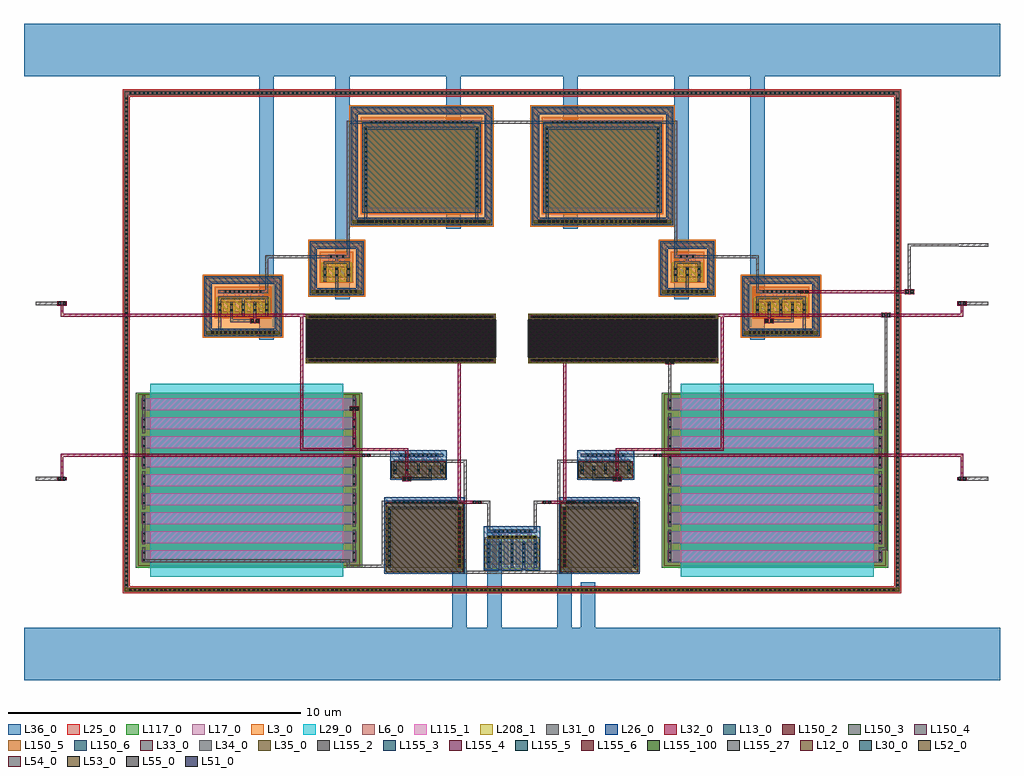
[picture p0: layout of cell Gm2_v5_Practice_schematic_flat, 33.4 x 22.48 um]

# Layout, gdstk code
import gdstk
lib = gdstk.Library(unit=1e-6, precision=1e-09)
def R(c, l, rs):  # rectangles x0, y0, x1, y1
    for r in rs: c.add(gdstk.rectangle(r[:2], r[2:], *l))
def A(c, l, x, y, w, h, nx, ny, dx, dy):  # array of equal rectangles
    R(c, l, [(x+i*dx, y+j*dy, x+i*dx+w, y+j*dy+h) for i in range(nx) for j in range(ny)])
L3_0 = (3, 0)
L6_0 = (6, 0)
L12_0 = (12, 0)
L13_0 = (13, 0)
L17_0 = (17, 0)
L25_0 = (25, 0)
L26_0 = (26, 0)
L29_0 = (29, 0)
L30_0 = (30, 0)
L31_0 = (31, 0)
L32_0 = (32, 0)
L33_0 = (33, 0)
L34_0 = (34, 0)
L35_0 = (35, 0)
L36_0 = (36, 0)
L51_0 = (51, 0)
L52_0 = (52, 0)
L53_0 = (53, 0)
L54_0 = (54, 0)
L55_0 = (55, 0)
L115_1 = (115, 1)
L117_0 = (117, 0)
L150_2 = (150, 2)
L150_3 = (150, 3)
L150_4 = (150, 4)
L150_5 = (150, 5)
L150_6 = (150, 6)
L155_2 = (155, 2)
L155_3 = (155, 3)
L155_4 = (155, 4)
L155_5 = (155, 5)
L155_6 = (155, 6)
L155_27 = (155, 27)
L155_100 = (155, 100)
L208_1 = (208, 1)

gm2_v5_practice_schemati = lib.new_cell('Gm2_v5_Practice_schematic_flat')
R(gm2_v5_practice_schemati, L3_0, [(5.225,7.825,7.975,9.975), (23.625,7.825,26.375,9.975), (5.675,8.55,7.525,9.2), (24.075,8.55,25.925,9.2), (8.825,9.225,10.775,11.175), (20.825,9.225,22.775,11.175), (9.275,9.75,10.325,10.4), (21.275,9.75,22.325,10.4), (10.225,11.625,15.175,15.775), (16.425,11.625,21.375,15.775), (10.675,12.1,14.725,15.2), (16.875,12.1,20.925,15.2)])
R(gm2_v5_practice_schemati, L6_0, [(2.525,-0.875,2.675,-0.725), (2.675,-0.875,28.925,-0.725), (28.925,-0.875,29.075,-0.725), (2.525,-0.725,2.675,16.125), (28.925,-0.725,29.075,16.125), (11.525,-0.05,14.075,2.05), (17.525,-0.05,20.075,2.05), (14.925,0.07,16.675,0.85), (11.725,3.16,13.475,3.45), (18.125,3.16,19.875,3.45), (5.325,7.925,5.475,8.075), (5.475,7.925,7.725,8.075), (7.725,7.925,7.875,8.075), (23.725,7.925,23.875,8.075), (23.875,7.925,26.125,8.075), (26.125,7.925,26.275,8.075), (5.325,8.075,5.475,9.725), (7.725,8.075,7.875,9.725), (23.725,8.075,23.875,9.725), (26.125,8.075,26.275,9.725), (5.725,8.7,7.475,9.05), (24.125,8.7,25.875,9.05), (8.925,9.325,9.075,9.475), (9.075,9.325,10.525,9.475), (10.525,9.325,10.675,9.475), (20.925,9.325,21.075,9.475), (21.075,9.325,22.525,9.475), (22.525,9.325,22.675,9.475), (8.925,9.475,9.075,10.925), (10.525,9.475,10.675,10.925), (20.925,9.475,21.075,10.925), (22.525,9.475,22.675,10.925), (5.325,9.725,5.475,9.875), (5.475,9.725,7.725,9.875), (7.725,9.725,7.875,9.875), (23.725,9.725,23.875,9.875), (23.875,9.725,26.125,9.875), (26.125,9.725,26.275,9.875), (9.325,9.9,10.275,10.25), (21.325,9.9,22.275,10.25), (8.925,10.925,9.075,11.075), (9.075,10.925,10.525,11.075), (10.525,10.925,10.675,11.075), (20.925,10.925,21.075,11.075), (21.075,10.925,22.525,11.075), (22.525,10.925,22.675,11.075), (10.325,11.725,10.475,11.875), (10.475,11.725,14.925,11.875), (14.925,11.725,15.075,11.875), (16.525,11.725,16.675,11.875), (16.675,11.725,21.125,11.875), (21.125,11.725,21.275,11.875), (10.325,11.875,10.475,15.525), (14.925,11.875,15.075,15.525), (16.525,11.875,16.675,15.525), (21.125,11.875,21.275,15.525), (10.725,12.25,14.675,15.05), (16.925,12.25,20.875,15.05), (10.325,15.525,10.475,15.675), (10.475,15.525,14.925,15.675), (14.925,15.525,15.075,15.675), (16.525,15.525,16.675,15.675), (16.675,15.525,21.125,15.675), (21.125,15.525,21.275,15.675), (2.525,16.125,2.675,16.275), (2.675,16.125,28.925,16.275), (28.925,16.125,29.075,16.275)])
R(gm2_v5_practice_schemati, L12_0, [(11.475,-0.2,14.125,2.2), (17.475,-0.2,20.125,2.2), (11.675,3.01,13.525,3.6), (18.075,3.01,19.925,3.6)])
R(gm2_v5_practice_schemati, L13_0, [(10.675,12.1,14.725,15.2), (16.875,12.1,20.925,15.2)])
A(gm2_v5_practice_schemati, L17_0, 15.12, -0.03, 0.16, 0.98, 4, 1, 0.4, 0)
A(gm2_v5_practice_schemati, L17_0, 3.125, 0.15, 7.35, 0.4, 1, 9, 0, 0.65)
A(gm2_v5_practice_schemati, L17_0, 21.125, 0.15, 7.35, 0.4, 1, 9, 0, 0.65)
A(gm2_v5_practice_schemati, L17_0, 15.12, 0.85, 0.16, 0.3, 4, 1, 0.4, 0)
A(gm2_v5_practice_schemati, L17_0, 11.92, 3.06, 0.16, 0.49, 4, 1, 0.4, 0)
A(gm2_v5_practice_schemati, L17_0, 18.32, 3.06, 0.16, 0.49, 4, 1, 0.4, 0)
A(gm2_v5_practice_schemati, L17_0, 11.92, 3.45, 0.16, 0.3, 4, 1, 0.4, 0)
A(gm2_v5_practice_schemati, L17_0, 18.32, 3.45, 0.16, 0.3, 4, 1, 0.4, 0)
A(gm2_v5_practice_schemati, L17_0, 5.92, 8.6, 0.16, 0.55, 4, 1, 0.4, 0)
A(gm2_v5_practice_schemati, L17_0, 24.32, 8.6, 0.16, 0.55, 4, 1, 0.4, 0)
A(gm2_v5_practice_schemati, L17_0, 5.92, 9.05, 0.16, 0.3, 4, 1, 0.4, 0)
A(gm2_v5_practice_schemati, L17_0, 24.32, 9.05, 0.16, 0.3, 4, 1, 0.4, 0)
R(gm2_v5_practice_schemati, L17_0, [(11.7,-0.15,13.9,2.15), (17.7,-0.15,19.9,2.15), (15.12,1.125,16.48,1.275), (11.7,2.05,13.9,2.275), (17.7,2.05,19.9,2.275), (11.92,3.725,13.28,3.875), (18.32,3.725,19.68,3.875), (5.92,9.325,7.28,9.475), (24.32,9.325,25.68,9.475), (9.52,9.8,9.68,10.35), (9.92,9.8,10.08,10.35), (21.52,9.8,21.68,10.35), (21.92,9.8,22.08,10.35), (9.52,10.25,9.68,10.55), (9.92,10.25,10.08,10.55), (21.52,10.25,21.68,10.55), (21.92,10.25,22.08,10.55), (9.52,10.525,10.08,10.675), (21.52,10.525,22.08,10.675), (10.9,12.15,14.5,15.15), (17.1,12.15,20.7,15.15), (10.9,15.05,14.5,15.275), (17.1,15.05,20.7,15.275)])
R(gm2_v5_practice_schemati, L25_0, [(2.475,-0.925,2.725,-0.675), (2.675,-0.925,28.925,-0.675), (28.875,-0.925,29.125,-0.675), (2.475,-0.725,2.725,16.125), (28.875,-0.725,29.125,16.125), (2.985,0.01,10.615,5.89), (20.985,0.01,28.615,5.89), (5.625,8.5,7.575,9.575), (24.025,8.5,25.975,9.575), (9.225,9.7,10.375,10.775), (21.225,9.7,22.375,10.775), (10.625,12.05,14.775,15.375), (16.825,12.05,20.975,15.375), (2.475,16.075,2.725,16.325), (2.675,16.075,28.925,16.325), (28.875,16.075,29.125,16.325)])
R(gm2_v5_practice_schemati, L26_0, [(11.425,-0.25,14.175,2.375), (17.425,-0.25,20.175,2.375), (14.825,-0.13,16.775,1.375), (11.625,2.96,13.575,3.975), (18.025,2.96,19.975,3.975), (5.275,7.875,5.525,8.125), (5.475,7.875,7.725,8.125), (7.675,7.875,7.925,8.125), (23.675,7.875,23.925,8.125), (23.875,7.875,26.125,8.125), (26.075,7.875,26.325,8.125), (5.275,8.075,5.525,9.725), (7.675,8.075,7.925,9.725), (23.675,8.075,23.925,9.725), (26.075,8.075,26.325,9.725), (8.875,9.275,9.125,9.525), (9.075,9.275,10.525,9.525), (10.475,9.275,10.725,9.525), (20.875,9.275,21.125,9.525), (21.075,9.275,22.525,9.525), (22.475,9.275,22.725,9.525), (8.875,9.475,9.125,10.925), (10.475,9.475,10.725,10.925), (20.875,9.475,21.125,10.925), (22.475,9.475,22.725,10.925), (5.275,9.675,5.525,9.925), (5.475,9.675,7.725,9.925), (7.675,9.675,7.925,9.925), (23.675,9.675,23.925,9.925), (23.875,9.675,26.125,9.925), (26.075,9.675,26.325,9.925), (8.875,10.875,9.125,11.125), (9.075,10.875,10.525,11.125), (10.475,10.875,10.725,11.125), (20.875,10.875,21.125,11.125), (21.075,10.875,22.525,11.125), (22.475,10.875,22.725,11.125), (10.275,11.675,10.525,11.925), (10.475,11.675,14.925,11.925), (14.875,11.675,15.125,11.925), (16.475,11.675,16.725,11.925), (16.675,11.675,21.125,11.925), (21.075,11.675,21.325,11.925), (10.275,11.875,10.525,15.525), (14.875,11.875,15.125,15.525), (16.475,11.875,16.725,15.525), (21.075,11.875,21.325,15.525), (10.275,15.475,10.525,15.725), (10.475,15.475,14.925,15.725), (14.875,15.475,15.125,15.725), (16.475,15.475,16.725,15.725), (16.675,15.475,21.125,15.725), (21.075,15.475,21.325,15.725)])
R(gm2_v5_practice_schemati, L29_0, [(3.425,-0.35,10.025,6.25), (21.575,-0.35,28.175,6.25)])
A(gm2_v5_practice_schemati, L30_0, 2.725, -0.825, 0.05, 0.05, 175, 2, 0.15, 17)
A(gm2_v5_practice_schemati, L30_0, 2.575, -0.655, 0.05, 0.05, 1, 112, 0, 0.15)
A(gm2_v5_practice_schemati, L30_0, 28.975, -0.655, 0.05, 0.05, 1, 112, 0, 0.15)
A(gm2_v5_practice_schemati, L30_0, 11.575, 0.015, 0.05, 0.05, 1, 13, 0, 0.16)
A(gm2_v5_practice_schemati, L30_0, 13.975, 0.015, 0.05, 0.05, 1, 13, 0, 0.16)
A(gm2_v5_practice_schemati, L30_0, 17.575, 0.015, 0.05, 0.05, 1, 13, 0, 0.16)
A(gm2_v5_practice_schemati, L30_0, 19.975, 0.015, 0.05, 0.05, 1, 13, 0, 0.16)
A(gm2_v5_practice_schemati, L30_0, 14.975, 0.12, 0.05, 0.05, 5, 5, 0.4, 0.155)
A(gm2_v5_practice_schemati, L30_0, 15.175, 1.175, 0.05, 0.05, 9, 1, 0.15, 0)
A(gm2_v5_practice_schemati, L30_0, 11.765, 2.175, 0.05, 0.05, 14, 1, 0.155, 0)
A(gm2_v5_practice_schemati, L30_0, 17.77, 2.175, 0.05, 0.05, 14, 1, 0.155, 0)
A(gm2_v5_practice_schemati, L30_0, 11.775, 3.28, 0.05, 0.05, 5, 1, 0.4, 0)
A(gm2_v5_practice_schemati, L30_0, 18.175, 3.28, 0.05, 0.05, 5, 1, 0.4, 0)
A(gm2_v5_practice_schemati, L30_0, 11.975, 3.775, 0.05, 0.05, 9, 1, 0.15, 0)
A(gm2_v5_practice_schemati, L30_0, 18.375, 3.775, 0.05, 0.05, 9, 1, 0.15, 0)
A(gm2_v5_practice_schemati, L30_0, 5.525, 7.975, 0.05, 0.05, 15, 1, 0.15, 0)
A(gm2_v5_practice_schemati, L30_0, 23.925, 7.975, 0.05, 0.05, 15, 1, 0.15, 0)
A(gm2_v5_practice_schemati, L30_0, 5.775, 8.75, 0.05, 0.05, 5, 2, 0.4, 0.195)
A(gm2_v5_practice_schemati, L30_0, 24.175, 8.75, 0.05, 0.05, 5, 2, 0.4, 0.195)
A(gm2_v5_practice_schemati, L30_0, 5.975, 9.375, 0.05, 0.05, 9, 1, 0.15, 0)
A(gm2_v5_practice_schemati, L30_0, 9.135, 9.375, 0.05, 0.05, 9, 1, 0.16, 0)
A(gm2_v5_practice_schemati, L30_0, 21.135, 9.375, 0.05, 0.05, 9, 1, 0.16, 0)
A(gm2_v5_practice_schemati, L30_0, 24.375, 9.375, 0.05, 0.05, 9, 1, 0.15, 0)
A(gm2_v5_practice_schemati, L30_0, 9.375, 9.95, 0.05, 0.05, 3, 2, 0.4, 0.195)
A(gm2_v5_practice_schemati, L30_0, 21.375, 9.95, 0.05, 0.05, 3, 2, 0.4, 0.195)
A(gm2_v5_practice_schemati, L30_0, 9.575, 10.575, 0.05, 0.05, 3, 1, 0.205, 0)
A(gm2_v5_practice_schemati, L30_0, 21.565, 10.575, 0.05, 0.05, 3, 1, 0.205, 0)
A(gm2_v5_practice_schemati, L30_0, 10.575, 11.775, 0.05, 0.05, 29, 1, 0.15, 0)
A(gm2_v5_practice_schemati, L30_0, 16.775, 11.775, 0.05, 0.05, 29, 1, 0.15, 0)
A(gm2_v5_practice_schemati, L30_0, 10.775, 12.305, 0.05, 0.05, 1, 18, 0, 0.155)
A(gm2_v5_practice_schemati, L30_0, 14.575, 12.305, 0.05, 0.05, 1, 18, 0, 0.155)
A(gm2_v5_practice_schemati, L30_0, 16.975, 12.305, 0.05, 0.05, 1, 18, 0, 0.155)
A(gm2_v5_practice_schemati, L30_0, 20.775, 12.305, 0.05, 0.05, 1, 18, 0, 0.155)
A(gm2_v5_practice_schemati, L30_0, 10.97, 15.175, 0.05, 0.05, 23, 1, 0.155, 0)
A(gm2_v5_practice_schemati, L30_0, 17.17, 15.175, 0.05, 0.05, 23, 1, 0.155, 0)
R(gm2_v5_practice_schemati, L30_0, [(3.175,0.2,3.225,0.25), (10.375,0.2,10.425,0.25), (21.175,0.2,21.225,0.25), (28.375,0.2,28.425,0.25), (3.175,0.45,3.225,0.5), (10.375,0.45,10.425,0.5), (21.175,0.45,21.225,0.5), (28.375,0.45,28.425,0.5), (3.175,0.85,3.225,0.9), (10.375,0.85,10.425,0.9), (21.175,0.85,21.225,0.9), (28.375,0.85,28.425,0.9), (3.175,1.1,3.225,1.15), (10.375,1.1,10.425,1.15), (21.175,1.1,21.225,1.15), (28.375,1.1,28.425,1.15), (3.175,1.5,3.225,1.55), (10.375,1.5,10.425,1.55), (21.175,1.5,21.225,1.55), (28.375,1.5,28.425,1.55), (3.175,1.75,3.225,1.8), (10.375,1.75,10.425,1.8), (21.175,1.75,21.225,1.8), (28.375,1.75,28.425,1.8), (3.175,2.15,3.225,2.2), (10.375,2.15,10.425,2.2), (21.175,2.15,21.225,2.2), (28.375,2.15,28.425,2.2), (3.175,2.4,3.225,2.45), (10.375,2.4,10.425,2.45), (21.175,2.4,21.225,2.45), (28.375,2.4,28.425,2.45), (3.175,2.8,3.225,2.85), (10.375,2.8,10.425,2.85), (21.175,2.8,21.225,2.85), (28.375,2.8,28.425,2.85), (3.175,3.05,3.225,3.1), (10.375,3.05,10.425,3.1), (21.175,3.05,21.225,3.1), (28.375,3.05,28.425,3.1), (3.175,3.45,3.225,3.5), (10.375,3.45,10.425,3.5), (21.175,3.45,21.225,3.5), (28.375,3.45,28.425,3.5), (3.175,3.7,3.225,3.75), (10.375,3.7,10.425,3.75), (21.175,3.7,21.225,3.75), (28.375,3.7,28.425,3.75), (3.175,4.1,3.225,4.15), (10.375,4.1,10.425,4.15), (21.175,4.1,21.225,4.15), (28.375,4.1,28.425,4.15), (3.175,4.35,3.225,4.4), (10.375,4.35,10.425,4.4), (21.175,4.35,21.225,4.4), (28.375,4.35,28.425,4.4), (3.175,4.75,3.225,4.8), (10.375,4.75,10.425,4.8), (21.175,4.75,21.225,4.8), (28.375,4.75,28.425,4.8), (3.175,5,3.225,5.05), (10.375,5,10.425,5.05), (21.175,5,21.225,5.05), (28.375,5,28.425,5.05), (3.175,5.4,3.225,5.45), (10.375,5.4,10.425,5.45), (21.175,5.4,21.225,5.45), (28.375,5.4,28.425,5.45), (3.175,5.65,3.225,5.7), (10.375,5.65,10.425,5.7), (21.175,5.65,21.225,5.7), (28.375,5.65,28.425,5.7)])
A(gm2_v5_practice_schemati, L31_0, 14.95, -0.05, 0.1, 0.9, 5, 1, 0.4, 0)
A(gm2_v5_practice_schemati, L31_0, 14.95, 0.07, 0.1, 0.78, 5, 1, 0.4, 0)
A(gm2_v5_practice_schemati, L31_0, 14.95, 0.85, 0.1, 0.1, 3, 1, 0.8, 0)
A(gm2_v5_practice_schemati, L31_0, 11.75, 3.15, 0.1, 0.3, 5, 1, 0.4, 0)
A(gm2_v5_practice_schemati, L31_0, 18.15, 3.15, 0.1, 0.3, 5, 1, 0.4, 0)
A(gm2_v5_practice_schemati, L31_0, 11.75, 3.16, 0.1, 0.29, 5, 1, 0.4, 0)
A(gm2_v5_practice_schemati, L31_0, 18.15, 3.16, 0.1, 0.29, 5, 1, 0.4, 0)
A(gm2_v5_practice_schemati, L31_0, 11.75, 3.45, 0.1, 0.1, 3, 1, 0.8, 0)
A(gm2_v5_practice_schemati, L31_0, 18.15, 3.45, 0.1, 0.1, 3, 1, 0.8, 0)
A(gm2_v5_practice_schemati, L31_0, 5.75, 8.55, 0.1, 0.5, 5, 1, 0.4, 0)
A(gm2_v5_practice_schemati, L31_0, 24.15, 8.55, 0.1, 0.5, 5, 1, 0.4, 0)
A(gm2_v5_practice_schemati, L31_0, 5.75, 8.7, 0.1, 0.35, 5, 1, 0.4, 0)
A(gm2_v5_practice_schemati, L31_0, 24.15, 8.7, 0.1, 0.35, 5, 1, 0.4, 0)
A(gm2_v5_practice_schemati, L31_0, 5.75, 9.05, 0.1, 0.1, 3, 1, 0.8, 0)
A(gm2_v5_practice_schemati, L31_0, 24.15, 9.05, 0.1, 0.1, 3, 1, 0.8, 0)
A(gm2_v5_practice_schemati, L31_0, 9.35, 9.75, 0.1, 0.5, 3, 1, 0.4, 0)
A(gm2_v5_practice_schemati, L31_0, 21.35, 9.75, 0.1, 0.5, 3, 1, 0.4, 0)
A(gm2_v5_practice_schemati, L31_0, 9.35, 9.9, 0.1, 0.35, 3, 1, 0.4, 0)
A(gm2_v5_practice_schemati, L31_0, 21.35, 9.9, 0.1, 0.35, 3, 1, 0.4, 0)
R(gm2_v5_practice_schemati, L31_0, [(2.55,-0.85,2.65,-0.75), (2.65,-0.85,2.675,-0.75), (2.675,-0.85,28.925,-0.75), (28.925,-0.85,28.95,-0.75), (28.95,-0.85,29.05,-0.75), (2.55,-0.75,2.65,-0.725), (28.95,-0.75,29.05,-0.725), (2.55,-0.725,2.65,16.125), (28.95,-0.725,29.05,16.125), (14.15,-0.25,15.45,-0.15), (14.15,-0.25,14.25,3.65), (15.35,-0.25,16.25,-0.15), (16.15,-0.25,17.45,-0.15), (17.35,-0.25,17.45,3.65), (15.35,-0.15,15.45,-0.05), (16.15,-0.15,16.25,-0.05), (10.15,-0.05,10.25,0.25), (10.15,-0.05,11.45,0.05), (11.35,-0.05,11.45,2.25), (11.55,-0.05,11.65,2.05), (11.55,-0.05,11.65,2.05), (13.95,-0.05,14.05,2.05), (13.95,-0.05,14.05,2.05), (17.55,-0.05,17.65,2.05), (17.55,-0.05,17.65,2.05), (19.95,-0.05,20.05,2.05), (19.95,-0.05,20.05,2.05), (3.15,0.15,3.25,0.55), (3.15,0.15,3.25,0.55), (3.15,0.15,3.25,0.65), (3.15,0.15,10.25,0.25), (10.35,0.15,10.45,0.55), (10.35,0.15,10.45,0.55), (10.35,0.15,10.45,1.25), (21.15,0.15,21.25,0.55), (21.15,0.15,21.25,0.55), (21.15,0.15,21.25,1.25), (28.35,0.15,28.45,0.55), (28.35,0.15,28.45,0.55), (28.35,0.15,28.45,0.65), (28.35,0.55,28.65,0.65), (28.55,0.55,28.65,8.65), (3.15,0.75,3.25,1.85), (28.35,0.75,28.45,1.85), (3.15,0.8,3.25,1.2), (3.15,0.8,3.25,1.2), (10.35,0.8,10.45,1.2), (10.35,0.8,10.45,1.2), (21.15,0.8,21.25,1.2), (21.15,0.8,21.25,1.2), (28.35,0.8,28.45,1.2), (28.35,0.8,28.45,1.2), (14.95,0.95,16.65,1.05), (14.95,1.15,16.65,1.25), (14.95,1.15,15.05,2.25), (15.12,1.15,16.48,1.25), (16.55,1.15,16.65,2.25), (10.35,1.35,10.45,2.65), (21.15,1.35,21.25,2.65), (3.15,1.45,3.25,1.85), (3.15,1.45,3.25,1.85), (10.35,1.45,10.45,1.85), (10.35,1.45,10.45,1.85), (21.15,1.45,21.25,1.85), (21.15,1.45,21.25,1.85), (28.35,1.45,28.45,1.85), (28.35,1.45,28.45,1.85), (3.15,1.95,3.25,3.25), (11.55,1.95,14.05,2.05), (17.55,1.95,20.05,2.05), (28.35,1.95,28.45,3.25), (3.15,2.1,3.25,2.5), (3.15,2.1,3.25,2.5), (10.35,2.1,10.45,2.5), (10.35,2.1,10.45,2.5), (21.15,2.1,21.25,2.5), (21.15,2.1,21.25,2.5), (28.35,2.1,28.45,2.5), (28.35,2.1,28.45,2.5), (11.35,2.15,11.65,2.25), (11.55,2.15,14.05,2.25), (11.7,2.15,13.9,2.25), (13.64,2.15,13.96,2.25), (14.44,2.15,14.76,2.25), (14.55,2.15,15.05,2.25), (16.55,2.15,17.05,2.25), (16.84,2.15,17.16,2.25), (17.55,2.15,20.05,2.25), (17.64,2.15,17.96,2.25), (17.7,2.15,19.9,2.25), (3.15,2.75,3.25,3.15), (3.15,2.75,3.25,3.15), (10.35,2.75,10.45,3.15), (10.35,2.75,10.45,3.15), (10.35,2.75,10.45,3.85), (21.15,2.75,21.25,3.15), (21.15,2.75,21.25,3.15), (21.15,2.75,21.25,3.85), (28.35,2.75,28.45,3.15), (28.35,2.75,28.45,3.15), (12.04,2.92,12.36,3.08), (19.24,2.92,19.56,3.08), (-0.5,2.935,0.5,3.065), (31.1,2.935,32.1,3.065), (0.24,2.95,0.56,3.05), (12.15,2.95,13.05,3.05), (18.55,2.95,19.45,3.05), (31.04,2.95,31.36,3.05), (12.15,3.05,12.25,3.15), (12.95,3.05,13.05,3.15), (18.55,3.05,18.65,3.15), (19.35,3.05,19.45,3.15), (3.15,3.35,3.25,4.45), (28.35,3.35,28.45,4.45), (3.15,3.4,3.25,3.8), (3.15,3.4,3.25,3.8), (10.35,3.4,10.45,3.8), (10.35,3.4,10.45,3.8), (21.15,3.4,21.25,3.8), (21.15,3.4,21.25,3.8), (28.35,3.4,28.45,3.8), (28.35,3.4,28.45,3.8), (11.75,3.55,13.45,3.65), (13.35,3.55,14.25,3.65), (17.35,3.55,18.25,3.65), (18.15,3.55,19.85,3.65), (10.64,3.75,10.96,3.85), (10.75,3.75,11.85,3.85), (11.75,3.75,13.45,3.85), (11.92,3.75,13.28,3.85), (18.15,3.75,19.85,3.85), (18.32,3.75,19.68,3.85), (19.75,3.75,20.85,3.85), (20.64,3.75,20.96,3.85), (10.35,3.95,10.45,5.25), (21.15,3.95,21.25,5.25), (3.15,4.05,3.25,4.45), (3.15,4.05,3.25,4.45), (10.35,4.05,10.45,4.45), (10.35,4.05,10.45,4.45), (21.15,4.05,21.25,4.45), (21.15,4.05,21.25,4.45), (28.35,4.05,28.45,4.45), (28.35,4.05,28.45,4.45), (3.15,4.55,3.25,5.85), (28.35,4.55,28.45,5.85), (3.15,4.7,3.25,5.1), (3.15,4.7,3.25,5.1), (10.35,4.7,10.45,5.1), (10.35,4.7,10.45,5.1), (21.15,4.7,21.25,5.1), (21.15,4.7,21.25,5.1), (28.35,4.7,28.45,5.1), (28.35,4.7,28.45,5.1), (10.24,5.32,10.56,5.48), (3.15,5.35,3.25,5.75), (3.15,5.35,3.25,5.75), (10.35,5.35,10.45,5.75), (10.35,5.35,10.45,5.75), (10.35,5.35,10.45,5.85), (21.15,5.35,21.25,5.75), (21.15,5.35,21.25,5.75), (21.15,5.35,21.25,5.85), (28.35,5.35,28.45,5.75), (28.35,5.35,28.45,5.75), (21.15,5.75,21.25,7.05), (21.04,6.92,21.36,7.08), (5.35,7.95,5.45,8.05), (5.45,7.95,5.475,8.05), (5.475,7.95,7.725,8.05), (5.75,7.95,5.85,9.15), (7.725,7.95,7.75,8.05), (7.75,7.95,7.85,8.05), (23.75,7.95,23.85,8.05), (23.85,7.95,23.875,8.05), (23.875,7.95,26.125,8.05), (25.75,7.95,25.85,9.15), (26.125,7.95,26.15,8.05), (26.15,7.95,26.25,8.05), (6.84,8.32,7.16,8.48), (24.44,8.32,24.76,8.48), (6.15,8.35,7.05,8.45), (24.55,8.35,25.45,8.45), (6.15,8.45,6.25,8.55), (6.95,8.45,7.05,8.55), (24.55,8.45,24.65,8.55), (25.35,8.45,25.45,8.55), (28.44,8.52,28.76,8.68), (0.24,8.92,0.56,9.08), (31.04,8.92,31.36,9.08), (-0.5,8.935,0.5,9.065), (31.1,8.935,32.1,9.065), (5.75,9.15,7.45,9.25), (24.15,9.15,25.85,9.25), (29.24,9.32,29.56,9.48), (5.75,9.35,7.45,9.45), (5.92,9.35,7.28,9.45), (7.35,9.35,7.45,10.65), (8.95,9.35,9.05,9.45), (9.05,9.35,9.075,9.45), (9.075,9.35,10.525,9.45), (9.75,9.35,9.85,9.75), (10.525,9.35,10.55,9.45), (10.55,9.35,10.65,9.45), (20.95,9.35,21.05,9.45), (21.05,9.35,21.075,9.45), (21.075,9.35,22.525,9.45), (21.75,9.35,21.85,9.75), (22.525,9.35,22.55,9.45), (22.55,9.35,22.65,9.45), (24.15,9.35,25.85,9.45), (24.15,9.35,24.25,10.65), (24.32,9.35,25.68,9.45), (25.64,9.35,25.96,9.45), (29.35,9.35,29.45,11.05), (9.35,10.25,9.45,10.35), (10.15,10.25,10.25,10.35), (21.35,10.25,21.45,10.35), (22.15,10.25,22.25,10.35), (9.35,10.35,10.25,10.45), (9.75,10.35,9.85,10.65), (21.35,10.35,22.25,10.45), (21.75,10.35,21.85,10.65), (7.35,10.55,9.45,10.65), (9.35,10.55,10.25,10.65), (9.52,10.55,10.08,10.65), (10.15,10.55,10.25,15.25), (21.35,10.55,22.25,10.65), (21.35,10.55,21.45,15.25), (21.52,10.55,22.08,10.65), (22.15,10.55,24.25,10.65), (31.1,10.935,32.1,11.065), (29.35,10.95,31.25,11.05), (10.35,11.75,10.45,11.85), (10.45,11.75,10.475,11.85), (10.475,11.75,14.925,11.85), (10.75,11.75,10.85,12.15), (14.55,11.75,14.65,15.05), (14.925,11.75,14.95,11.85), (14.95,11.75,15.05,11.85), (16.55,11.75,16.65,11.85), (16.65,11.75,16.675,11.85), (16.675,11.75,21.125,11.85), (16.95,11.75,17.05,15.05), (20.75,11.75,20.85,12.15), (21.125,11.75,21.15,11.85), (21.15,11.75,21.25,11.85), (10.75,12.15,10.85,15.05), (14.55,12.15,14.65,15.05), (16.95,12.15,17.05,15.05), (20.75,12.15,20.85,15.05), (10.75,12.25,10.85,15.05), (14.55,12.25,14.65,15.05), (16.95,12.25,17.05,15.05), (20.75,12.25,20.85,15.05), (10.75,14.95,14.65,15.05), (16.95,14.95,20.85,15.05), (10.15,15.15,10.85,15.25), (10.75,15.15,14.65,15.25), (10.9,15.15,14.5,15.25), (14.55,15.15,15.85,15.25), (15.75,15.15,17.05,15.25), (16.95,15.15,20.85,15.25), (17.1,15.15,20.7,15.25), (20.75,15.15,21.45,15.25), (2.55,16.125,2.65,16.15), (28.95,16.125,29.05,16.15), (2.55,16.15,2.65,16.25), (2.65,16.15,2.675,16.25), (2.675,16.15,28.925,16.25), (28.925,16.15,28.95,16.25), (28.95,16.15,29.05,16.25)])
A(gm2_v5_practice_schemati, L32_0, 8.75, 7.16, 0.07, 0.14, 23, 1, 0.28, 0)
A(gm2_v5_practice_schemati, L32_0, 16.62, 7.16, 0.07, 0.14, 23, 1, 0.28, 0)
A(gm2_v5_practice_schemati, L32_0, 8.75, 7.3, 0.07, 1, 46, 1, 0.14, 0)
A(gm2_v5_practice_schemati, L32_0, 16.48, 7.3, 0.07, 1, 46, 1, 0.14, 0)
A(gm2_v5_practice_schemati, L32_0, 8.89, 8.3, 0.07, 0.14, 23, 1, 0.28, 0)
A(gm2_v5_practice_schemati, L32_0, 16.48, 8.3, 0.07, 0.14, 23, 1, 0.28, 0)
R(gm2_v5_practice_schemati, L32_0, [(2.55,-0.85,2.65,-0.75), (2.65,-0.85,2.675,-0.75), (2.675,-0.85,28.925,-0.75), (28.925,-0.85,28.95,-0.75), (28.95,-0.85,29.05,-0.75), (2.55,-0.75,2.65,-0.725), (28.95,-0.75,29.05,-0.725), (13.95,-0.05,14.05,2.05), (17.55,-0.05,17.65,2.05), (14.95,0.95,16.65,1.05), (13.64,2.15,13.96,2.25), (13.75,2.15,14.65,2.25), (13.95,2.15,14.05,7.05), (14.44,2.15,14.76,2.25), (16.84,2.15,17.16,2.25), (16.95,2.15,17.85,2.25), (17.55,2.15,17.65,7.05), (17.64,2.15,17.96,2.25), (12.04,2.92,12.36,3.08), (19.24,2.92,19.56,3.08), (0.24,2.95,0.56,3.05), (0.35,2.95,0.45,3.85), (12.15,2.95,12.25,4.05), (19.35,2.95,19.45,4.05), (31.04,2.95,31.36,3.05), (31.15,2.95,31.25,3.85), (0.35,3.75,10.85,3.85), (10.64,3.75,10.96,3.85), (20.64,3.75,20.96,3.85), (20.75,3.75,31.25,3.85), (8.55,3.95,12.25,4.05), (8.55,3.95,8.65,8.65), (10.35,3.95,10.45,5.45), (19.35,3.95,23.05,4.05), (22.95,3.95,23.05,8.65), (10.24,5.32,10.56,5.48), (21.04,6.92,21.36,7.08), (8.75,6.95,15.25,7.16), (16.35,6.95,22.85,7.16), (5.35,7.95,5.45,8.05), (5.45,7.95,5.475,8.05), (5.475,7.95,7.725,8.05), (7.725,7.95,7.75,8.05), (7.75,7.95,7.85,8.05), (23.75,7.95,23.85,8.05), (23.85,7.95,23.875,8.05), (23.875,7.95,26.125,8.05), (26.125,7.95,26.15,8.05), (26.15,7.95,26.25,8.05), (6.84,8.32,7.16,8.48), (24.44,8.32,24.76,8.48), (6.95,8.35,7.05,8.65), (24.55,8.35,24.65,8.65), (8.75,8.44,15.25,8.65), (16.35,8.44,22.85,8.65), (28.44,8.52,28.76,8.68), (0.35,8.55,7.05,8.65), (0.35,8.55,0.45,9.05), (6.95,8.55,8.85,8.65), (22.75,8.55,24.65,8.65), (24.55,8.55,31.25,8.65), (31.15,8.55,31.25,9.05), (0.24,8.92,0.56,9.08), (31.04,8.92,31.36,9.08), (29.24,9.32,29.56,9.48), (8.95,9.35,9.05,9.45), (9.05,9.35,9.075,9.45), (9.075,9.35,10.525,9.45), (10.525,9.35,10.55,9.45), (10.55,9.35,10.65,9.45), (20.95,9.35,21.05,9.45), (21.05,9.35,21.075,9.45), (21.075,9.35,22.525,9.45), (22.525,9.35,22.55,9.45), (22.55,9.35,22.65,9.45), (25.64,9.35,25.96,9.45), (25.75,9.35,29.45,9.45), (10.35,11.75,10.45,11.85), (10.45,11.75,10.475,11.85), (10.475,11.75,14.925,11.85), (14.925,11.75,14.95,11.85), (14.95,11.75,15.05,11.85), (16.55,11.75,16.65,11.85), (16.65,11.75,16.675,11.85), (16.675,11.75,21.125,11.85), (21.125,11.75,21.15,11.85), (21.15,11.75,21.25,11.85)])
A(gm2_v5_practice_schemati, L33_0, 8.75, 7.16, 0.07, 0.14, 23, 1, 0.28, 0)
A(gm2_v5_practice_schemati, L33_0, 16.62, 7.16, 0.07, 0.14, 23, 1, 0.28, 0)
A(gm2_v5_practice_schemati, L33_0, 8.75, 7.3, 0.07, 1, 46, 1, 0.14, 0)
A(gm2_v5_practice_schemati, L33_0, 16.48, 7.3, 0.07, 1, 46, 1, 0.14, 0)
A(gm2_v5_practice_schemati, L33_0, 8.89, 8.3, 0.07, 0.14, 23, 1, 0.28, 0)
A(gm2_v5_practice_schemati, L33_0, 16.48, 8.3, 0.07, 0.14, 23, 1, 0.28, 0)
R(gm2_v5_practice_schemati, L33_0, [(2.55,-0.85,2.65,-0.75), (2.65,-0.85,2.675,-0.75), (2.675,-0.85,28.925,-0.75), (28.925,-0.85,28.95,-0.75), (28.95,-0.85,29.05,-0.75), (2.55,-0.75,2.65,-0.725), (28.95,-0.75,29.05,-0.725), (13.95,-0.05,14.05,2.05), (17.55,-0.05,17.65,2.05), (14.95,0.95,16.65,1.05), (8.75,6.95,15.25,7.16), (16.35,6.95,22.85,7.16), (5.35,7.95,5.45,8.05), (5.45,7.95,5.475,8.05), (5.475,7.95,7.725,8.05), (7.725,7.95,7.75,8.05), (7.75,7.95,7.85,8.05), (23.75,7.95,23.85,8.05), (23.85,7.95,23.875,8.05), (23.875,7.95,26.125,8.05), (26.125,7.95,26.15,8.05), (26.15,7.95,26.25,8.05), (8.75,8.44,15.25,8.65), (16.35,8.44,22.85,8.65), (8.95,9.35,9.05,9.45), (9.05,9.35,9.075,9.45), (9.075,9.35,10.525,9.45), (10.525,9.35,10.55,9.45), (10.55,9.35,10.65,9.45), (20.95,9.35,21.05,9.45), (21.05,9.35,21.075,9.45), (21.075,9.35,22.525,9.45), (22.525,9.35,22.55,9.45), (22.55,9.35,22.65,9.45), (10.35,11.75,10.45,11.85), (10.45,11.75,10.475,11.85), (10.475,11.75,14.925,11.85), (14.925,11.75,14.95,11.85), (14.95,11.75,15.05,11.85), (16.55,11.75,16.65,11.85), (16.65,11.75,16.675,11.85), (16.675,11.75,21.125,11.85), (21.125,11.75,21.15,11.85), (21.15,11.75,21.25,11.85)])
A(gm2_v5_practice_schemati, L34_0, 8.75, 7.16, 0.07, 0.14, 23, 1, 0.28, 0)
A(gm2_v5_practice_schemati, L34_0, 16.62, 7.16, 0.07, 0.14, 23, 1, 0.28, 0)
A(gm2_v5_practice_schemati, L34_0, 8.75, 7.3, 0.07, 1, 46, 1, 0.14, 0)
A(gm2_v5_practice_schemati, L34_0, 16.48, 7.3, 0.07, 1, 46, 1, 0.14, 0)
A(gm2_v5_practice_schemati, L34_0, 8.89, 8.3, 0.07, 0.14, 23, 1, 0.28, 0)
A(gm2_v5_practice_schemati, L34_0, 16.48, 8.3, 0.07, 0.14, 23, 1, 0.28, 0)
R(gm2_v5_practice_schemati, L34_0, [(2.55,-0.85,2.65,-0.75), (2.65,-0.85,2.675,-0.75), (2.675,-0.85,28.925,-0.75), (28.925,-0.85,28.95,-0.75), (28.95,-0.85,29.05,-0.75), (2.55,-0.75,2.65,-0.725), (28.95,-0.75,29.05,-0.725), (13.95,-0.05,14.05,2.05), (17.55,-0.05,17.65,2.05), (14.95,0.95,16.65,1.05), (8.75,6.95,15.25,7.16), (16.35,6.95,22.85,7.16), (5.35,7.95,5.45,8.05), (5.45,7.95,5.475,8.05), (5.475,7.95,7.725,8.05), (7.725,7.95,7.75,8.05), (7.75,7.95,7.85,8.05), (23.75,7.95,23.85,8.05), (23.85,7.95,23.875,8.05), (23.875,7.95,26.125,8.05), (26.125,7.95,26.15,8.05), (26.15,7.95,26.25,8.05), (8.75,8.44,15.25,8.65), (16.35,8.44,22.85,8.65), (8.95,9.35,9.05,9.45), (9.05,9.35,9.075,9.45), (9.075,9.35,10.525,9.45), (10.525,9.35,10.55,9.45), (10.55,9.35,10.65,9.45), (20.95,9.35,21.05,9.45), (21.05,9.35,21.075,9.45), (21.075,9.35,22.525,9.45), (22.525,9.35,22.55,9.45), (22.55,9.35,22.65,9.45), (10.35,11.75,10.45,11.85), (10.45,11.75,10.475,11.85), (10.475,11.75,14.925,11.85), (14.925,11.75,14.95,11.85), (14.95,11.75,15.05,11.85), (16.55,11.75,16.65,11.85), (16.65,11.75,16.675,11.85), (16.675,11.75,21.125,11.85), (21.125,11.75,21.15,11.85), (21.15,11.75,21.25,11.85)])
A(gm2_v5_practice_schemati, L35_0, 8.75, 7.16, 0.07, 0.14, 23, 1, 0.28, 0)
A(gm2_v5_practice_schemati, L35_0, 16.62, 7.16, 0.07, 0.14, 23, 1, 0.28, 0)
A(gm2_v5_practice_schemati, L35_0, 8.75, 7.3, 0.07, 1, 46, 1, 0.14, 0)
A(gm2_v5_practice_schemati, L35_0, 16.48, 7.3, 0.07, 1, 46, 1, 0.14, 0)
A(gm2_v5_practice_schemati, L35_0, 8.89, 8.3, 0.07, 0.14, 23, 1, 0.28, 0)
A(gm2_v5_practice_schemati, L35_0, 16.48, 8.3, 0.07, 0.14, 23, 1, 0.28, 0)
R(gm2_v5_practice_schemati, L35_0, [(2.55,-0.85,2.65,-0.75), (2.65,-0.85,2.675,-0.75), (2.675,-0.85,28.925,-0.75), (28.925,-0.85,28.95,-0.75), (28.95,-0.85,29.05,-0.75), (2.55,-0.75,2.65,-0.725), (28.95,-0.75,29.05,-0.725), (13.95,-0.05,14.05,2.05), (17.55,-0.05,17.65,2.05), (14.95,0.95,16.65,1.05), (8.75,6.95,15.25,7.16), (16.35,6.95,22.85,7.16), (5.35,7.95,5.45,8.05), (5.45,7.95,5.475,8.05), (5.475,7.95,7.725,8.05), (7.725,7.95,7.75,8.05), (7.75,7.95,7.85,8.05), (23.75,7.95,23.85,8.05), (23.85,7.95,23.875,8.05), (23.875,7.95,26.125,8.05), (26.125,7.95,26.15,8.05), (26.15,7.95,26.25,8.05), (8.75,8.44,15.25,8.65), (16.35,8.44,22.85,8.65), (8.95,9.35,9.05,9.45), (9.05,9.35,9.075,9.45), (9.075,9.35,10.525,9.45), (10.525,9.35,10.55,9.45), (10.55,9.35,10.65,9.45), (20.95,9.35,21.05,9.45), (21.05,9.35,21.075,9.45), (21.075,9.35,22.525,9.45), (22.525,9.35,22.55,9.45), (22.55,9.35,22.65,9.45), (10.35,11.75,10.45,11.85), (10.45,11.75,10.475,11.85), (10.475,11.75,14.925,11.85), (14.925,11.75,14.95,11.85), (14.95,11.75,15.05,11.85), (16.55,11.75,16.65,11.85), (16.65,11.75,16.675,11.85), (16.675,11.75,21.125,11.85), (21.125,11.75,21.15,11.85), (21.15,11.75,21.25,11.85)])
A(gm2_v5_practice_schemati, L36_0, 8.75, 7.16, 0.07, 0.14, 23, 1, 0.28, 0)
A(gm2_v5_practice_schemati, L36_0, 16.62, 7.16, 0.07, 0.14, 23, 1, 0.28, 0)
A(gm2_v5_practice_schemati, L36_0, 8.75, 7.3, 0.07, 1, 46, 1, 0.14, 0)
A(gm2_v5_practice_schemati, L36_0, 16.48, 7.3, 0.07, 1, 46, 1, 0.14, 0)
A(gm2_v5_practice_schemati, L36_0, 8.89, 8.3, 0.07, 0.14, 23, 1, 0.28, 0)
A(gm2_v5_practice_schemati, L36_0, 16.48, 8.3, 0.07, 0.14, 23, 1, 0.28, 0)
R(gm2_v5_practice_schemati, L36_0, [(-0.9,-3.9,32.5,-2.1), (13.75,-2.45,14.25,0.25), (14.95,-2.45,15.45,1.25), (17.35,-2.45,17.85,0.25), (18.15,-2.45,18.65,-0.55), (2.55,-0.85,2.65,-0.75), (2.65,-0.85,2.675,-0.75), (2.675,-0.85,28.925,-0.75), (28.925,-0.85,28.95,-0.75), (28.95,-0.85,29.05,-0.75), (2.55,-0.75,2.65,-0.725), (28.95,-0.75,29.05,-0.725), (13.95,-0.05,14.05,2.05), (17.55,-0.05,17.65,2.05), (14.95,0.95,16.65,1.05), (8.75,6.95,15.25,7.16), (16.35,6.95,22.85,7.16), (7.15,7.75,7.65,17.05), (23.95,7.75,24.45,17.05), (5.35,7.95,5.45,8.05), (5.45,7.95,5.475,8.05), (5.475,7.95,7.725,8.05), (7.725,7.95,7.75,8.05), (7.75,7.95,7.85,8.05), (23.75,7.95,23.85,8.05), (23.85,7.95,23.875,8.05), (23.875,7.95,26.125,8.05), (26.125,7.95,26.15,8.05), (26.15,7.95,26.25,8.05), (8.75,8.44,15.25,8.65), (16.35,8.44,22.85,8.65), (9.75,9.15,10.25,17.05), (21.35,9.15,21.85,17.05), (8.95,9.35,9.05,9.45), (9.05,9.35,9.075,9.45), (9.075,9.35,10.525,9.45), (10.525,9.35,10.55,9.45), (10.55,9.35,10.65,9.45), (20.95,9.35,21.05,9.45), (21.05,9.35,21.075,9.45), (21.075,9.35,22.525,9.45), (22.525,9.35,22.55,9.45), (22.55,9.35,22.65,9.45), (13.55,11.55,14.05,17.05), (17.55,11.55,18.05,17.05), (10.35,11.75,10.45,11.85), (10.45,11.75,10.475,11.85), (10.475,11.75,14.925,11.85), (14.925,11.75,14.95,11.85), (14.95,11.75,15.05,11.85), (16.55,11.75,16.65,11.85), (16.65,11.75,16.675,11.85), (16.675,11.75,21.125,11.85), (21.125,11.75,21.15,11.85), (21.15,11.75,21.25,11.85), (-0.9,16.775,32.5,18.575)])
A(gm2_v5_practice_schemati, L51_0, 2.725, -0.825, 0.05, 0.05, 175, 1, 0.15, 0)
A(gm2_v5_practice_schemati, L51_0, 13.975, -0.015, 0.05, 0.05, 1, 13, 0, 0.165)
A(gm2_v5_practice_schemati, L51_0, 17.575, -0.015, 0.05, 0.05, 1, 13, 0, 0.165)
A(gm2_v5_practice_schemati, L51_0, 15, 0.975, 0.05, 0.05, 11, 1, 0.155, 0)
A(gm2_v5_practice_schemati, L51_0, 5.525, 7.975, 0.05, 0.05, 15, 1, 0.15, 0)
A(gm2_v5_practice_schemati, L51_0, 23.925, 7.975, 0.05, 0.05, 15, 1, 0.15, 0)
A(gm2_v5_practice_schemati, L51_0, 9.115, 9.375, 0.05, 0.05, 9, 1, 0.165, 0)
A(gm2_v5_practice_schemati, L51_0, 21.115, 9.375, 0.05, 0.05, 9, 1, 0.165, 0)
A(gm2_v5_practice_schemati, L51_0, 10.505, 11.775, 0.05, 0.05, 29, 1, 0.155, 0)
A(gm2_v5_practice_schemati, L51_0, 16.705, 11.775, 0.05, 0.05, 29, 1, 0.155, 0)
R(gm2_v5_practice_schemati, L51_0, [(13.67,2.15,13.77,2.25), (13.83,2.15,13.93,2.25), (14.47,2.15,14.57,2.25), (14.63,2.15,14.73,2.25), (16.87,2.15,16.97,2.25), (17.03,2.15,17.13,2.25), (17.67,2.15,17.77,2.25), (17.83,2.15,17.93,2.25), (0.27,2.95,0.37,3.05), (0.43,2.95,0.53,3.05), (12.07,2.95,12.17,3.05), (12.23,2.95,12.33,3.05), (19.27,2.95,19.37,3.05), (19.43,2.95,19.53,3.05), (31.07,2.95,31.17,3.05), (31.23,2.95,31.33,3.05), (10.67,3.75,10.77,3.85), (10.83,3.75,10.93,3.85), (20.67,3.75,20.77,3.85), (20.83,3.75,20.93,3.85), (10.27,5.35,10.37,5.45), (10.43,5.35,10.53,5.45), (21.07,6.95,21.17,7.05), (21.23,6.95,21.33,7.05), (6.87,8.35,6.97,8.45), (7.03,8.35,7.13,8.45), (24.47,8.35,24.57,8.45), (24.63,8.35,24.73,8.45), (28.47,8.55,28.57,8.65), (28.63,8.55,28.73,8.65), (0.27,8.95,0.37,9.05), (0.43,8.95,0.53,9.05), (31.07,8.95,31.17,9.05), (31.23,8.95,31.33,9.05), (25.67,9.35,25.77,9.45), (25.83,9.35,25.93,9.45), (29.27,9.35,29.37,9.45), (29.43,9.35,29.53,9.45)])
A(gm2_v5_practice_schemati, L52_0, 2.725, -0.825, 0.05, 0.05, 175, 1, 0.15, 0)
A(gm2_v5_practice_schemati, L52_0, 13.975, -0.015, 0.05, 0.05, 1, 13, 0, 0.165)
A(gm2_v5_practice_schemati, L52_0, 17.575, -0.015, 0.05, 0.05, 1, 13, 0, 0.165)
A(gm2_v5_practice_schemati, L52_0, 15, 0.975, 0.05, 0.05, 11, 1, 0.155, 0)
A(gm2_v5_practice_schemati, L52_0, 8.845, 7.02, 0.07, 0.07, 40, 2, 0.16, 1.49)
A(gm2_v5_practice_schemati, L52_0, 16.445, 7.02, 0.07, 0.07, 40, 2, 0.16, 1.49)
A(gm2_v5_practice_schemati, L52_0, 5.525, 7.975, 0.05, 0.05, 15, 1, 0.15, 0)
A(gm2_v5_practice_schemati, L52_0, 23.925, 7.975, 0.05, 0.05, 15, 1, 0.15, 0)
A(gm2_v5_practice_schemati, L52_0, 9.115, 9.375, 0.05, 0.05, 9, 1, 0.165, 0)
A(gm2_v5_practice_schemati, L52_0, 21.115, 9.375, 0.05, 0.05, 9, 1, 0.165, 0)
A(gm2_v5_practice_schemati, L52_0, 10.505, 11.775, 0.05, 0.05, 29, 1, 0.155, 0)
A(gm2_v5_practice_schemati, L52_0, 16.705, 11.775, 0.05, 0.05, 29, 1, 0.155, 0)
A(gm2_v5_practice_schemati, L53_0, 2.725, -0.825, 0.05, 0.05, 175, 1, 0.15, 0)
A(gm2_v5_practice_schemati, L53_0, 13.975, -0.015, 0.05, 0.05, 1, 13, 0, 0.165)
A(gm2_v5_practice_schemati, L53_0, 17.575, -0.015, 0.05, 0.05, 1, 13, 0, 0.165)
A(gm2_v5_practice_schemati, L53_0, 15, 0.975, 0.05, 0.05, 11, 1, 0.155, 0)
A(gm2_v5_practice_schemati, L53_0, 8.925, 7.02, 0.07, 0.07, 39, 2, 0.16, 1.49)
A(gm2_v5_practice_schemati, L53_0, 16.525, 7.02, 0.07, 0.07, 39, 2, 0.16, 1.49)
A(gm2_v5_practice_schemati, L53_0, 5.525, 7.975, 0.05, 0.05, 15, 1, 0.15, 0)
A(gm2_v5_practice_schemati, L53_0, 23.925, 7.975, 0.05, 0.05, 15, 1, 0.15, 0)
A(gm2_v5_practice_schemati, L53_0, 9.115, 9.375, 0.05, 0.05, 9, 1, 0.165, 0)
A(gm2_v5_practice_schemati, L53_0, 21.115, 9.375, 0.05, 0.05, 9, 1, 0.165, 0)
A(gm2_v5_practice_schemati, L53_0, 10.505, 11.775, 0.05, 0.05, 29, 1, 0.155, 0)
A(gm2_v5_practice_schemati, L53_0, 16.705, 11.775, 0.05, 0.05, 29, 1, 0.155, 0)
A(gm2_v5_practice_schemati, L54_0, 2.725, -0.825, 0.05, 0.05, 175, 1, 0.15, 0)
A(gm2_v5_practice_schemati, L54_0, 13.975, -0.015, 0.05, 0.05, 1, 13, 0, 0.165)
A(gm2_v5_practice_schemati, L54_0, 17.575, -0.015, 0.05, 0.05, 1, 13, 0, 0.165)
A(gm2_v5_practice_schemati, L54_0, 15, 0.975, 0.05, 0.05, 11, 1, 0.155, 0)
A(gm2_v5_practice_schemati, L54_0, 8.845, 7.02, 0.07, 0.07, 40, 2, 0.16, 1.49)
A(gm2_v5_practice_schemati, L54_0, 16.445, 7.02, 0.07, 0.07, 40, 2, 0.16, 1.49)
A(gm2_v5_practice_schemati, L54_0, 5.525, 7.975, 0.05, 0.05, 15, 1, 0.15, 0)
A(gm2_v5_practice_schemati, L54_0, 23.925, 7.975, 0.05, 0.05, 15, 1, 0.15, 0)
A(gm2_v5_practice_schemati, L54_0, 9.115, 9.375, 0.05, 0.05, 9, 1, 0.165, 0)
A(gm2_v5_practice_schemati, L54_0, 21.115, 9.375, 0.05, 0.05, 9, 1, 0.165, 0)
A(gm2_v5_practice_schemati, L54_0, 10.505, 11.775, 0.05, 0.05, 29, 1, 0.155, 0)
A(gm2_v5_practice_schemati, L54_0, 16.705, 11.775, 0.05, 0.05, 29, 1, 0.155, 0)
A(gm2_v5_practice_schemati, L55_0, 2.725, -0.825, 0.05, 0.05, 175, 1, 0.15, 0)
A(gm2_v5_practice_schemati, L55_0, 13.975, -0.015, 0.05, 0.05, 1, 13, 0, 0.165)
A(gm2_v5_practice_schemati, L55_0, 17.575, -0.015, 0.05, 0.05, 1, 13, 0, 0.165)
A(gm2_v5_practice_schemati, L55_0, 15, 0.975, 0.05, 0.05, 11, 1, 0.155, 0)
A(gm2_v5_practice_schemati, L55_0, 8.925, 7.02, 0.07, 0.07, 39, 2, 0.16, 1.49)
A(gm2_v5_practice_schemati, L55_0, 16.525, 7.02, 0.07, 0.07, 39, 2, 0.16, 1.49)
A(gm2_v5_practice_schemati, L55_0, 5.525, 7.975, 0.05, 0.05, 15, 1, 0.15, 0)
A(gm2_v5_practice_schemati, L55_0, 23.925, 7.975, 0.05, 0.05, 15, 1, 0.15, 0)
A(gm2_v5_practice_schemati, L55_0, 9.115, 9.375, 0.05, 0.05, 9, 1, 0.165, 0)
A(gm2_v5_practice_schemati, L55_0, 21.115, 9.375, 0.05, 0.05, 9, 1, 0.165, 0)
A(gm2_v5_practice_schemati, L55_0, 10.505, 11.775, 0.05, 0.05, 29, 1, 0.155, 0)
A(gm2_v5_practice_schemati, L55_0, 16.705, 11.775, 0.05, 0.05, 29, 1, 0.155, 0)
A(gm2_v5_practice_schemati, L115_1, 3.425, 0.15, 6.6, 0.4, 1, 9, 0, 0.65)
A(gm2_v5_practice_schemati, L115_1, 21.575, 0.15, 6.6, 0.4, 1, 9, 0, 0.65)
R(gm2_v5_practice_schemati, L117_0, [(2.925,-0.05,10.675,5.95), (20.925,-0.05,28.675,5.95)])
R(gm2_v5_practice_schemati, L150_2, [(8.75,6.95,15.25,8.65), (16.35,6.95,22.85,8.65)])
R(gm2_v5_practice_schemati, L150_3, [(8.75,6.95,15.25,8.65), (16.35,6.95,22.85,8.65)])
R(gm2_v5_practice_schemati, L150_4, [(8.75,6.95,15.25,8.65), (16.35,6.95,22.85,8.65)])
R(gm2_v5_practice_schemati, L150_5, [(8.75,6.95,15.25,8.65), (16.35,6.95,22.85,8.65)])
R(gm2_v5_practice_schemati, L150_6, [(8.75,6.95,15.25,8.65), (16.35,6.95,22.85,8.65)])
R(gm2_v5_practice_schemati, L155_2, [(8.745,7.16,15.255,8.44), (16.345,7.16,22.855,8.44)])
R(gm2_v5_practice_schemati, L155_3, [(8.745,7.16,15.255,8.44), (16.345,7.16,22.855,8.44)])
R(gm2_v5_practice_schemati, L155_4, [(8.745,7.16,15.255,8.44), (16.345,7.16,22.855,8.44)])
R(gm2_v5_practice_schemati, L155_5, [(8.745,7.16,15.255,8.44), (16.345,7.16,22.855,8.44)])
R(gm2_v5_practice_schemati, L155_6, [(8.745,7.16,15.255,8.44), (16.345,7.16,22.855,8.44)])
R(gm2_v5_practice_schemati, L155_27, [(8.745,7.16,15.255,8.44), (16.345,7.16,22.855,8.44)])
R(gm2_v5_practice_schemati, L155_100, [(8.745,7.16,15.255,8.44), (16.345,7.16,22.855,8.44)])
R(gm2_v5_practice_schemati, L208_1, [(11.475,-0.2,14.125,2.2), (17.475,-0.2,20.125,2.2), (14.875,-0.08,16.725,1), (11.675,3.01,13.525,3.6), (18.075,3.01,19.925,3.6), (5.675,8.55,7.525,9.2), (24.075,8.55,25.925,9.2), (9.275,9.75,10.325,10.4), (21.275,9.75,22.325,10.4), (10.675,12.1,14.725,15.2), (16.875,12.1,20.925,15.2)])

lib.write_gds('Gm2_v5_Practice_schematic_flat.gds')
